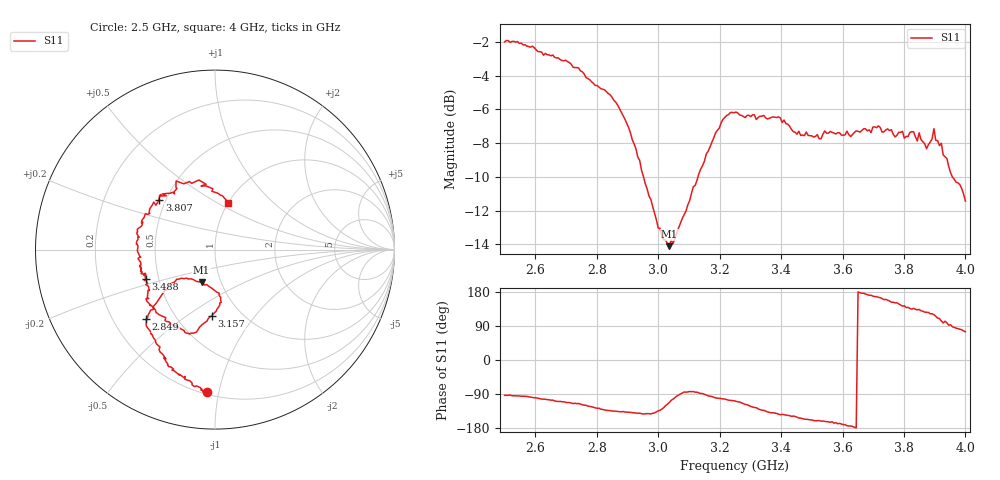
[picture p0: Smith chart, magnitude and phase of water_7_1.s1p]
# MHz S MA R 50
!  freq  S11
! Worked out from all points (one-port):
!   250 points, 2.5 GHz to 4 GHz, reference 50 ohm
!   lowest |S11| = -14.1 dB at 3.036 GHz (marker M1), VSWR 1.49, Z = 40.4 - j15.3 ohm
!   |S11| at or under -10 dB: 2.952 GHz to 3.129 GHz (177.2 MHz wide, 5.83 % of centre); 3.958 GHz to end of sweep
!   S11 on the Smith chart (normalised r, x): 2.5 GHz: 0.21, -0.92; 2.849 GHz: 0.34, -0.38; 3.157 GHz: 0.74, -0.63; 3.488 GHz: 0.42, -0.17; 3.807 GHz: 0.46, +0.31; 4 GHz: 1.00, +0.56
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2500  0.7948 -93.2
2572.289  0.7724 -96.1
2692.771  0.6985 -110.3
2740.964  0.6652 -114.7
2849.398  0.5451 -134.7
2879.518  0.4922 -136.8
2975.904  0.2713 -142.4
3000  0.223 -134.5
3036.145  0.197 -112.3
3066.265  0.223 -92.3
3114.458  0.2959 -83.3
3156.627  0.3699 -92.9
3210.843  0.4683 -102.6
3253.012  0.4922 -109.0
3367.47  0.474 -139.6
3439.759  0.4307 -148.0
3487.952  0.4198 -156.9
3566.265  0.4284 -162.8
3626.506  0.4164 -174.1
3716.867  0.4478 165.4
3807.229  0.4167 138.2
3813.253  0.4162 139.0
3849.398  0.427 133.4
3873.494  0.3834 125.9
3897.59  0.4395 119.5
3921.687  0.3979 103.0
3945.783  0.3395 92.0
4000  0.268 74.6
